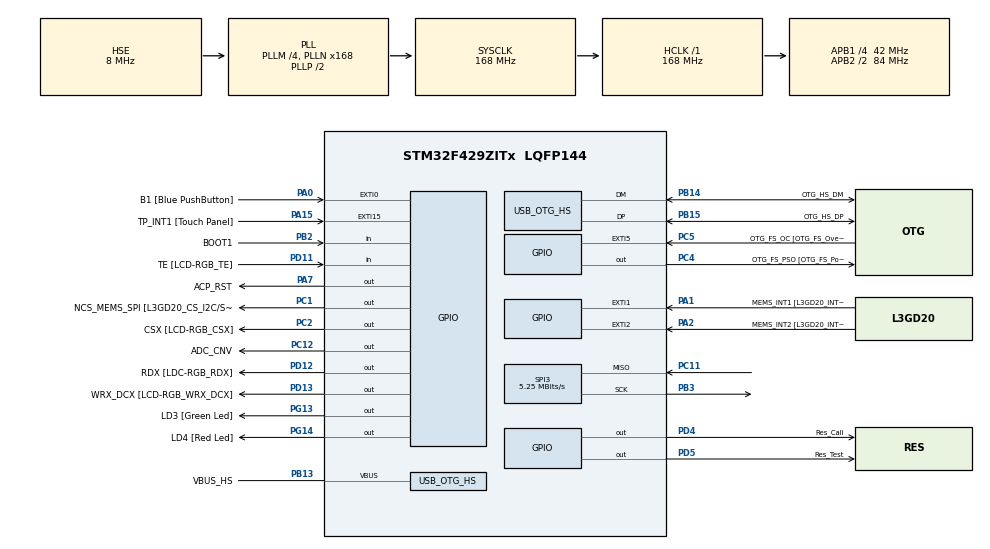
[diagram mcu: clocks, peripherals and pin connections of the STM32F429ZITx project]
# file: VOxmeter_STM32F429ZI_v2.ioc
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Mcu.Family=STM32F4
Mcu.Name=STM32F429ZITx
Mcu.Package=LQFP144
NVIC.OTG_HS_IRQn=true\:0\:0\:false\:false\:true\:true\:true
NVIC.PriorityGroup=NVIC_PRIORITYGROUP_4
NVIC.TIM6_DAC_IRQn=true\:0\:0\:false\:false\:true\:false\:true
NVIC.TIM7_IRQn=true\:0\:0\:false\:false\:true\:true\:true
NVIC.TimeBase=TIM6_DAC_IRQn
NVIC.TimeBaseIP=TIM6
PA0/WKUP.GPIO_Label=B1 [Blue PushButton]
PA0/WKUP.GPIO_ModeDefaultEXTI=GPIO_MODE_EVT_RISING
PA0/WKUP.GPIO_PuPd=GPIO_NOPULL
PA0/WKUP.Signal=GPXTI0
PA1.GPIO_Label=MEMS_INT1 [L3GD20_INT1]
PA1.GPIO_ModeDefaultEXTI=GPIO_MODE_EVT_RISING
PA1.GPIO_PuPd=GPIO_NOPULL
PA1.Signal=GPXTI1
PA10.GPIO_Label=STLINK_TX [STM32F103CBT6_PA2]
PA10.Signal=USART1_RX
PA11.GPIO_Label=R4
PA11.GPIO_Mode=GPIO_MODE_AF_PP
PA11.GPIO_PuPd=GPIO_NOPULL
PA11.GPIO_Speed=GPIO_SPEED_FREQ_LOW
PA11.Signal=LTDC_R4
PA12.GPIO_Label=R5
PA12.GPIO_Mode=GPIO_MODE_AF_PP
PA12.GPIO_PuPd=GPIO_NOPULL
PA12.GPIO_Speed=GPIO_SPEED_FREQ_LOW
PA12.Signal=LTDC_R5
PA13.GPIO_Label=SWDIO
PA13.Mode=Serial_Wire
PA13.Signal=SYS_JTMS-SWDIO
PA14.GPIO_Label=SWCLK
PA14.Mode=Serial_Wire
PA14.Signal=SYS_JTCK-SWCLK
PA15.GPIO_Label=TP_INT1 [Touch Panel]
PA15.GPIO_ModeDefaultEXTI=GPIO_MODE_EVT_RISING
PA15.GPIO_PuPd=GPIO_NOPULL
PA15.Signal=GPXTI15
PA2.GPIO_Label=MEMS_INT2 [L3GD20_INT2]
PA2.GPIO_ModeDefaultEXTI=GPIO_MODE_EVT_RISING
PA2.GPIO_PuPd=GPIO_NOPULL
PA2.Signal=GPXTI2
PA3.GPIO_Label=B5
PA3.GPIO_Mode=GPIO_MODE_AF_PP
PA3.GPIO_PuPd=GPIO_NOPULL
PA3.GPIO_Speed=GPIO_SPEED_FREQ_LOW
PA3.Signal=LTDC_B5
PA4.GPIO_Label=VSYNC
PA4.GPIO_Mode=GPIO_MODE_AF_PP
PA4.GPIO_PuPd=GPIO_NOPULL
PA4.GPIO_Speed=GPIO_SPEED_FREQ_LOW
PA4.Signal=LTDC_VSYNC
PA6.GPIO_Label=G2
PA6.GPIO_Mode=GPIO_MODE_AF_PP
PA6.GPIO_PuPd=GPIO_NOPULL
PA6.GPIO_Speed=GPIO_SPEED_FREQ_LOW
PA6.Signal=LTDC_G2
PA7.GPIO_Label=ACP_RST
PA7.GPIO_Mode=GPIO_MODE_OUTPUT_PP
PA7.GPIO_PuPd=GPIO_NOPULL
PA7.GPIO_Speed=GPIO_SPEED_FREQ_LOW
PA7.Signal=GPIO_Output
PA8.GPIO_Label=I2C3_SCL [ACP/RF_SCL]
PA8.GPIO_Mode=GPIO_MODE_AF_OD
PA8.GPIO_PuPd=GPIO_NOPULL
PA8.GPIO_Speed=GPIO_SPEED_FREQ_LOW
PA8.Signal=I2C3_SCL
PA9.GPIO_Label=STLINK_RX [STM32F103CBT6_PA3]
PA9.Signal=USART1_TX
PB0.GPIO_Label=R3
PB0.GPIO_Mode=GPIO_MODE_AF_PP
PB0.GPIO_PuPd=GPIO_NOPULL
PB0.GPIO_Speed=GPIO_SPEED_FREQ_LOW
PB0.Signal=LTDC_R3
PB1.GPIO_Label=R6
PB1.GPIO_Mode=GPIO_MODE_AF_PP
PB1.GPIO_PuPd=GPIO_NOPULL
PB1.GPIO_Speed=GPIO_SPEED_FREQ_LOW
PB1.Signal=LTDC_R6
PB10.GPIO_Label=G4
PB10.GPIO_Mode=GPIO_MODE_AF_PP
PB10.GPIO_PuPd=GPIO_NOPULL
PB10.GPIO_Speed=GPIO_SPEED_FREQ_LOW
PB10.Signal=LTDC_G4
PB11.GPIO_Label=G5
PB11.GPIO_Mode=GPIO_MODE_AF_PP
PB11.GPIO_PuPd=GPIO_NOPULL
PB11.GPIO_Speed=GPIO_SPEED_FREQ_LOW
PB11.Signal=LTDC_G5
PB12.GPIO_Label=OTG_HS_ID
PB12.GPIO_Mode=GPIO_MODE_AF_PP
PB12.GPIO_PuPd=GPIO_NOPULL
PB12.GPIO_Speed=GPIO_SPEED_FREQ_LOW
PB12.Signal=USB_OTG_HS_ID
PB13.GPIO_Label=VBUS_HS
PB13.GPIO_Mode=GPIO_MODE_INPUT
PB13.GPIO_PuPd=GPIO_NOPULL
PB13.Mode=Activate_VBUS_FS
PB13.Signal=USB_OTG_HS_VBUS
PB14.GPIO_Label=OTG_HS_DM
PB14.GPIO_Mode=GPIO_MODE_AF_PP
PB14.GPIO_PuPd=GPIO_NOPULL
PB14.GPIO_Speed=GPIO_SPEED_FREQ_LOW
PB14.Mode=Device_Only_FS
PB14.Signal=USB_OTG_HS_DM
PB15.GPIO_Label=OTG_HS_DP
PB15.GPIO_Mode=GPIO_MODE_AF_PP
PB15.GPIO_PuPd=GPIO_NOPULL
PB15.GPIO_Speed=GPIO_SPEED_FREQ_LOW
PB15.Mode=Device_Only_FS
PB15.Signal=USB_OTG_HS_DP
PB2/BOOT1.GPIO_Label=BOOT1
PB2/BOOT1.GPIO_Mode=GPIO_MODE_INPUT
PB2/BOOT1.GPIO_PuPd=GPIO_NOPULL
PB2/BOOT1.Signal=GPIO_Input
PB3.Mode=RX_Only_Simplex_Unidirect_Master
PB3.Signal=SPI3_SCK
PB5.GPIO_Label=SDCKE1
PB5.GPIO_Mode=GPIO_MODE_AF_PP
PB5.GPIO_PuPd=GPIO_NOPULL
PB5.GPIO_Speed=GPIO_SPEED_FREQ_VERY_HIGH
PB5.Signal=FMC_SDCKE1
PB6.GPIO_Label=SDNE1 [SDRAM_CS]
PB6.GPIO_Mode=GPIO_MODE_AF_PP
PB6.GPIO_PuPd=GPIO_NOPULL
PB6.GPIO_Speed=GPIO_SPEED_FREQ_VERY_HIGH
PB6.Signal=FMC_SDNE1
PB8.GPIO_Label=B6
PB8.GPIO_Mode=GPIO_MODE_AF_PP
PB8.GPIO_PuPd=GPIO_NOPULL
PB8.GPIO_Speed=GPIO_SPEED_FREQ_LOW
PB8.Signal=LTDC_B6
PB9.GPIO_Label=B7
PB9.GPIO_Mode=GPIO_MODE_AF_PP
PB9.GPIO_PuPd=GPIO_NOPULL
PB9.GPIO_Speed=GPIO_SPEED_FREQ_LOW
PB9.Signal=LTDC_B7
PC0.GPIO_Label=SDNWE
PC0.GPIO_Mode=GPIO_MODE_AF_PP
PC0.GPIO_PuPd=GPIO_NOPULL
PC0.GPIO_Speed=GPIO_SPEED_FREQ_VERY_HIGH
PC0.Signal=FMC_SDNWE
PC1.GPIO_Label=NCS_MEMS_SPI [L3GD20_CS_I2C/SPI]
PC1.GPIO_Mode=GPIO_MODE_OUTPUT_PP
PC1.GPIO_PuPd=GPIO_NOPULL
PC1.GPIO_Speed=GPIO_SPEED_FREQ_LOW
PC1.Signal=GPIO_Output
PC10.GPIO_Label=R2
PC10.GPIO_Mode=GPIO_MODE_AF_PP
PC10.GPIO_PuPd=GPIO_NOPULL
PC10.GPIO_Speed=GPIO_SPEED_FREQ_LOW
PC10.Signal=LTDC_R2
PC11.Mode=RX_Only_Simplex_Unidirect_Master
PC11.Signal=SPI3_MISO
PC12.GPIO_Label=ADC_CNV
PC12.Signal=GPIO_Output
PC14/OSC32_IN.GPIO_Label=PC14-OSC32_IN
PC14/OSC32_IN.Signal=RCC_OSC32_IN
PC15/OSC32_OUT.GPIO_Label=PC15-OSC32_OUT
PC15/OSC32_OUT.Signal=RCC_OSC32_OUT
PC2.GPIO_Label=CSX [LCD-RGB_CSX]
PC2.GPIO_Mode=GPIO_MODE_OUTPUT_PP
PC2.GPIO_PuPd=GPIO_NOPULL
PC2.GPIO_Speed=GPIO_SPEED_FREQ_LOW
PC2.Signal=GPIO_Output
PC4.GPIO_Label=OTG_FS_PSO [OTG_FS_PowerSwitchOn]
PC4.GPIO_Mode=GPIO_MODE_OUTPUT_PP
PC4.GPIO_PuPd=GPIO_NOPULL
PC4.GPIO_Speed=GPIO_SPEED_FREQ_LOW
PC4.Signal=GPIO_Output
PC5.GPIO_Label=OTG_FS_OC [OTG_FS_OverCurrent]
PC5.GPIO_ModeDefaultEXTI=GPIO_MODE_EVT_RISING
PC5.Signal=GPXTI5
PC6.GPIO_Label=HSYNC
PC6.GPIO_Mode=GPIO_MODE_AF_PP
PC6.GPIO_PuPd=GPIO_NOPULL
PC6.GPIO_Speed=GPIO_SPEED_FREQ_LOW
PC6.Signal=LTDC_HSYNC
PC7.GPIO_Label=G6
PC7.GPIO_Mode=GPIO_MODE_AF_PP
PC7.GPIO_PuPd=GPIO_NOPULL
PC7.GPIO_Speed=GPIO_SPEED_FREQ_LOW
PC7.Signal=LTDC_G6
PC9.GPIO_Label=I2C3_SDA [ACP/RF_SDA]
PC9.GPIO_Mode=GPIO_MODE_AF_OD
PC9.GPIO_PuPd=GPIO_NOPULL
PC9.GPIO_Speed=GPIO_SPEED_FREQ_LOW
PC9.Signal=I2C3_SDA
PD0.GPIO_Label=D2
PD0.GPIO_Mode=GPIO_MODE_AF_PP
PD0.GPIO_PuPd=GPIO_NOPULL
PD0.GPIO_Speed=GPIO_SPEED_FREQ_VERY_HIGH
PD0.Signal=FMC_D2_DA2
PD1.GPIO_Label=D3
PD1.GPIO_Mode=GPIO_MODE_AF_PP
PD1.GPIO_PuPd=GPIO_NOPULL
PD1.GPIO_Speed=GPIO_SPEED_FREQ_VERY_HIGH
PD1.Signal=FMC_D3_DA3
PD10.GPIO_Label=D15
PD10.GPIO_Mode=GPIO_MODE_AF_PP
PD10.GPIO_PuPd=GPIO_NOPULL
PD10.GPIO_Speed=GPIO_SPEED_FREQ_VERY_HIGH
PD10.Signal=FMC_D15_DA15
PD11.GPIO_Label=TE [LCD-RGB_TE]
PD11.GPIO_Mode=GPIO_MODE_INPUT
PD11.GPIO_PuPd=GPIO_NOPULL
PD11.Signal=GPIO_Input
PD12.GPIO_Label=RDX [LDC-RGB_RDX]
PD12.GPIO_Mode=GPIO_MODE_OUTPUT_PP
PD12.GPIO_PuPd=GPIO_NOPULL
PD12.GPIO_Speed=GPIO_SPEED_FREQ_LOW
PD12.Signal=GPIO_Output
PD13.GPIO_Label=WRX_DCX [LCD-RGB_WRX_DCX]
PD13.GPIO_Mode=GPIO_MODE_OUTPUT_PP
PD13.GPIO_PuPd=GPIO_NOPULL
PD13.GPIO_Speed=GPIO_SPEED_FREQ_LOW
PD13.Signal=GPIO_Output
PD14.GPIO_Label=D0
PD14.GPIO_Mode=GPIO_MODE_AF_PP
PD14.GPIO_PuPd=GPIO_NOPULL
PD14.GPIO_Speed=GPIO_SPEED_FREQ_VERY_HIGH
PD14.Signal=FMC_D0_DA0
PD15.GPIO_Label=D1
PD15.GPIO_Mode=GPIO_MODE_AF_PP
PD15.GPIO_PuPd=GPIO_NOPULL
PD15.GPIO_Speed=GPIO_SPEED_FREQ_VERY_HIGH
PD15.Signal=FMC_D1_DA1
PD3.GPIO_Label=G7
PD3.GPIO_Mode=GPIO_MODE_AF_PP
PD3.GPIO_PuPd=GPIO_NOPULL
PD3.GPIO_Speed=GPIO_SPEED_FREQ_LOW
PD3.Signal=LTDC_G7
PD4.GPIO_Label=Res_Cali
PD4.Signal=GPIO_Output
PD5.GPIO_Label=Res_Test
PD5.Signal=GPIO_Output
PD6.GPIO_Label=B2
PD6.GPIO_Mode=GPIO_MODE_AF_PP
PD6.GPIO_PuPd=GPIO_NOPULL
PD6.GPIO_Speed=GPIO_SPEED_FREQ_LOW
PD6.Signal=LTDC_B2
PD8.GPIO_Label=D13
PD8.GPIO_Mode=GPIO_MODE_AF_PP
PD8.GPIO_PuPd=GPIO_NOPULL
PD8.GPIO_Speed=GPIO_SPEED_FREQ_VERY_HIGH
PD8.Signal=FMC_D13_DA13
PD9.GPIO_Label=D14
PD9.GPIO_Mode=GPIO_MODE_AF_PP
PD9.GPIO_PuPd=GPIO_NOPULL
PD9.GPIO_Speed=GPIO_SPEED_FREQ_VERY_HIGH
PD9.Signal=FMC_D14_DA14
PE0.GPIO_Label=NBL0 [SDRAM_LDQM]
PE0.GPIO_Mode=GPIO_MODE_AF_PP
PE0.GPIO_PuPd=GPIO_NOPULL
PE0.GPIO_Speed=GPIO_SPEED_FREQ_VERY_HIGH
PE0.Signal=FMC_NBL0
PE1.GPIO_Label=NBL1 [SDRAM_UDQM]
PE1.GPIO_Mode=GPIO_MODE_AF_PP
PE1.GPIO_PuPd=GPIO_NOPULL
PE1.GPIO_Speed=GPIO_SPEED_FREQ_VERY_HIGH
PE1.Signal=FMC_NBL1
PE10.GPIO_Label=D7
PE10.GPIO_Mode=GPIO_MODE_AF_PP
PE10.GPIO_PuPd=GPIO_NOPULL
PE10.GPIO_Speed=GPIO_SPEED_FREQ_VERY_HIGH
PE10.Signal=FMC_D7_DA7
PE11.GPIO_Label=D8
PE11.GPIO_Mode=GPIO_MODE_AF_PP
PE11.GPIO_PuPd=GPIO_NOPULL
PE11.GPIO_Speed=GPIO_SPEED_FREQ_VERY_HIGH
PE11.Signal=FMC_D8_DA8
PE12.GPIO_Label=D9
PE12.GPIO_Mode=GPIO_MODE_AF_PP
PE12.GPIO_PuPd=GPIO_NOPULL
PE12.GPIO_Speed=GPIO_SPEED_FREQ_VERY_HIGH
PE12.Signal=FMC_D9_DA9
PE13.GPIO_Label=D10
PE13.GPIO_Mode=GPIO_MODE_AF_PP
PE13.GPIO_PuPd=GPIO_NOPULL
PE13.GPIO_Speed=GPIO_SPEED_FREQ_VERY_HIGH
PE13.Signal=FMC_D10_DA10
PE14.GPIO_Label=D11
PE14.GPIO_Mode=GPIO_MODE_AF_PP
PE14.GPIO_PuPd=GPIO_NOPULL
PE14.GPIO_Speed=GPIO_SPEED_FREQ_VERY_HIGH
PE14.Signal=FMC_D11_DA11
PE15.GPIO_Label=D12
PE15.GPIO_Mode=GPIO_MODE_AF_PP
PE15.GPIO_PuPd=GPIO_NOPULL
PE15.GPIO_Speed=GPIO_SPEED_FREQ_VERY_HIGH
PE15.Signal=FMC_D12_DA12
PE7.GPIO_Label=D4
PE7.GPIO_Mode=GPIO_MODE_AF_PP
PE7.GPIO_PuPd=GPIO_NOPULL
PE7.GPIO_Speed=GPIO_SPEED_FREQ_VERY_HIGH
PE7.Signal=FMC_D4_DA4
PE8.GPIO_Label=D5
PE8.GPIO_Mode=GPIO_MODE_AF_PP
PE8.GPIO_PuPd=GPIO_NOPULL
PE8.GPIO_Speed=GPIO_SPEED_FREQ_VERY_HIGH
PE8.Signal=FMC_D5_DA5
PE9.GPIO_Label=D6
PE9.GPIO_Mode=GPIO_MODE_AF_PP
PE9.GPIO_PuPd=GPIO_NOPULL
PE9.GPIO_Speed=GPIO_SPEED_FREQ_VERY_HIGH
PE9.Signal=FMC_D6_DA6
PF0.GPIO_Label=A0
PF0.GPIO_Mode=GPIO_MODE_AF_PP
PF0.GPIO_PuPd=GPIO_NOPULL
PF0.GPIO_Speed=GPIO_SPEED_FREQ_VERY_HIGH
PF0.Signal=FMC_A0
PF1.GPIO_Label=A1
PF1.GPIO_Mode=GPIO_MODE_AF_PP
PF1.GPIO_PuPd=GPIO_NOPULL
PF1.GPIO_Speed=GPIO_SPEED_FREQ_VERY_HIGH
PF1.Signal=FMC_A1
PF10.GPIO_Label=ENABLE [LCD-RGB_ENABLE]
PF10.GPIO_Mode=GPIO_MODE_AF_PP
PF10.GPIO_PuPd=GPIO_NOPULL
PF10.GPIO_Speed=GPIO_SPEED_FREQ_LOW
PF10.Signal=LTDC_DE
PF11.GPIO_Label=SDNRAS
PF11.GPIO_Mode=GPIO_MODE_AF_PP
PF11.GPIO_PuPd=GPIO_NOPULL
PF11.GPIO_Speed=GPIO_SPEED_FREQ_VERY_HIGH
PF11.Signal=FMC_SDNRAS
PF12.GPIO_Label=A6
PF12.GPIO_Mode=GPIO_MODE_AF_PP
PF12.GPIO_PuPd=GPIO_NOPULL
PF12.GPIO_Speed=GPIO_SPEED_FREQ_VERY_HIGH
PF12.Signal=FMC_A6
PF13.GPIO_Label=A7
PF13.GPIO_Mode=GPIO_MODE_AF_PP
PF13.GPIO_PuPd=GPIO_NOPULL
PF13.GPIO_Speed=GPIO_SPEED_FREQ_VERY_HIGH
PF13.Signal=FMC_A7
PF14.GPIO_Label=A8
PF14.GPIO_Mode=GPIO_MODE_AF_PP
PF14.GPIO_PuPd=GPIO_NOPULL
PF14.GPIO_Speed=GPIO_SPEED_FREQ_VERY_HIGH
PF14.Signal=FMC_A8
PF15.GPIO_Label=A9
PF15.GPIO_Mode=GPIO_MODE_AF_PP
PF15.GPIO_PuPd=GPIO_NOPULL
PF15.GPIO_Speed=GPIO_SPEED_FREQ_VERY_HIGH
PF15.Signal=FMC_A9
PF2.GPIO_Label=A2
PF2.GPIO_Mode=GPIO_MODE_AF_PP
PF2.GPIO_PuPd=GPIO_NOPULL
PF2.GPIO_Speed=GPIO_SPEED_FREQ_VERY_HIGH
PF2.Signal=FMC_A2
PF3.GPIO_Label=A3
PF3.GPIO_Mode=GPIO_MODE_AF_PP
PF3.GPIO_PuPd=GPIO_NOPULL
PF3.GPIO_Speed=GPIO_SPEED_FREQ_VERY_HIGH
PF3.Signal=FMC_A3
PF4.GPIO_Label=A4
PF4.GPIO_Mode=GPIO_MODE_AF_PP
PF4.GPIO_PuPd=GPIO_NOPULL
PF4.GPIO_Speed=GPIO_SPEED_FREQ_VERY_HIGH
PF4.Signal=FMC_A4
PF5.GPIO_Label=A5
PF5.GPIO_Mode=GPIO_MODE_AF_PP
PF5.GPIO_PuPd=GPIO_NOPULL
PF5.GPIO_Speed=GPIO_SPEED_FREQ_VERY_HIGH
PF5.Signal=FMC_A5
PF7.GPIO_Label=SPI5_SCK [L3GD20_SCL/SPC]
PF7.GPIO_Mode=GPIO_MODE_AF_PP
PF7.GPIO_PuPd=GPIO_NOPULL
PF7.GPIO_Speed=GPIO_SPEED_FREQ_LOW
PF7.Signal=SPI5_SCK
PF8.GPIO_Label=SPI5_MISO [L3GD20_SDO]
PF8.GPIO_Mode=GPIO_MODE_AF_PP
PF8.GPIO_PuPd=GPIO_NOPULL
PF8.GPIO_Speed=GPIO_SPEED_FREQ_LOW
PF8.Signal=SPI5_MISO
PF9.GPIO_Label=SPI5_MOSI [L3GD20_SDA/SDI/SDO]
PF9.GPIO_Mode=GPIO_MODE_AF_PP
PF9.GPIO_PuPd=GPIO_NOPULL
PF9.GPIO_Speed=GPIO_SPEED_FREQ_LOW
PF9.Signal=SPI5_MOSI
PG0.GPIO_Label=A10
PG0.GPIO_Mode=GPIO_MODE_AF_PP
PG0.GPIO_PuPd=GPIO_NOPULL
PG0.GPIO_Speed=GPIO_SPEED_FREQ_VERY_HIGH
PG0.Signal=FMC_A10
PG1.GPIO_Label=A11
PG1.GPIO_Mode=GPIO_MODE_AF_PP
PG1.GPIO_PuPd=GPIO_NOPULL
PG1.GPIO_Speed=GPIO_SPEED_FREQ_VERY_HIGH
PG1.Signal=FMC_A11
PG10.GPIO_Label=G3
PG10.GPIO_Mode=GPIO_MODE_AF_PP
PG10.GPIO_PuPd=GPIO_NOPULL
PG10.GPIO_Speed=GPIO_SPEED_FREQ_LOW
PG10.Signal=LTDC_G3
PG11.GPIO_Label=B3
PG11.GPIO_Mode=GPIO_MODE_AF_PP
PG11.GPIO_PuPd=GPIO_NOPULL
PG11.GPIO_Speed=GPIO_SPEED_FREQ_LOW
PG11.Signal=LTDC_B3
PG12.GPIO_Label=B4
PG12.GPIO_Mode=GPIO_MODE_AF_PP
PG12.GPIO_PuPd=GPIO_NOPULL
PG12.GPIO_Speed=GPIO_SPEED_FREQ_LOW
PG12.Signal=LTDC_B4
PG13.GPIO_Label=LD3 [Green Led]
PG13.GPIO_Mode=GPIO_MODE_OUTPUT_PP
PG13.GPIO_PuPd=GPIO_NOPULL
PG13.GPIO_Speed=GPIO_SPEED_FREQ_LOW
PG13.Signal=GPIO_Output
PG14.GPIO_Label=LD4 [Red Led]
PG14.GPIO_Mode=GPIO_MODE_OUTPUT_PP
PG14.GPIO_PuPd=GPIO_NOPULL
PG14.GPIO_Speed=GPIO_SPEED_FREQ_LOW
PG14.Signal=GPIO_Output
PG15.GPIO_Label=SDNCAS
PG15.GPIO_Mode=GPIO_MODE_AF_PP
PG15.GPIO_PuPd=GPIO_NOPULL
PG15.GPIO_Speed=GPIO_SPEED_FREQ_VERY_HIGH
PG15.Signal=FMC_SDNCAS
PG4.GPIO_Label=BA0
PG4.GPIO_Mode=GPIO_MODE_AF_PP
PG4.GPIO_PuPd=GPIO_NOPULL
PG4.GPIO_Speed=GPIO_SPEED_FREQ_VERY_HIGH
PG4.Signal=FMC_A14_BA0
PG5.GPIO_Label=BA1
PG5.GPIO_Mode=GPIO_MODE_AF_PP
PG5.GPIO_PuPd=GPIO_NOPULL
PG5.GPIO_Speed=GPIO_SPEED_FREQ_VERY_HIGH
PG5.Signal=FMC_A15_BA1
PG6.GPIO_Label=R7
PG6.GPIO_Mode=GPIO_MODE_AF_PP
PG6.GPIO_PuPd=GPIO_NOPULL
PG6.GPIO_Speed=GPIO_SPEED_FREQ_LOW
PG6.Signal=LTDC_R7
PG7.GPIO_Label=DOTCLK [LCT-RGB_DOTCLK]
PG7.GPIO_Mode=GPIO_MODE_AF_PP
PG7.GPIO_PuPd=GPIO_NOPULL
PG7.GPIO_Speed=GPIO_SPEED_FREQ_LOW
PG7.Signal=LTDC_CLK
PG8.GPIO_Label=SDCLK
PG8.GPIO_Mode=GPIO_MODE_AF_PP
PG8.GPIO_PuPd=GPIO_NOPULL
PG8.GPIO_Speed=GPIO_SPEED_FREQ_VERY_HIGH
PG8.Signal=FMC_SDCLK
PH0/OSC_IN.GPIO_Label=PH0-OSC_IN
PH0/OSC_IN.Mode=HSE-External-Oscillator
PH0/OSC_IN.Signal=RCC_OSC_IN
PH1/OSC_OUT.GPIO_Label=PH1-OSC_OUT
PH1/OSC_OUT.Mode=HSE-External-Oscillator
PH1/OSC_OUT.Signal=RCC_OSC_OUT
ProjectManager.HeapSize=0x2000
ProjectManager.StackSize=0x4000
ProjectManager.TargetToolchain=MDK-ARM V5.27
RCC.48MHZClocksFreq_Value=48000000
RCC.AHBFreq_Value=168000000
RCC.APB1CLKDivider=RCC_HCLK_DIV4
RCC.APB1Freq_Value=42000000
RCC.APB1TimFreq_Value=84000000
RCC.APB2CLKDivider=RCC_HCLK_DIV2
RCC.APB2Freq_Value=84000000
RCC.APB2TimFreq_Value=168000000
RCC.CortexFreq_Value=168000000
RCC.HCLKFreq_Value=168000000
RCC.HSE_VALUE=8000000
RCC.HSI_VALUE=16000000
RCC.LSE_VALUE=32768
RCC.PLLM=4
RCC.PLLN=168
RCC.PLLQ=7
RCC.PLLSAIN=50
RCC.SYSCLKFreq_VALUE=168000000
RCC.SYSCLKSource=RCC_SYSCLKSOURCE_PLLCLK
RCC.VCOOutputFreq_Value=336000000
SH.FMC_A0.0=FMC_A0
SH.FMC_A1.0=FMC_A1
SH.FMC_A10.0=FMC_A10
SH.FMC_A11.0=FMC_A11
SH.FMC_A14_BA0.0=FMC_BA0
SH.FMC_A15_BA1.0=FMC_BA1
SH.FMC_A2.0=FMC_A2
SH.FMC_A3.0=FMC_A3
SH.FMC_A4.0=FMC_A4
SH.FMC_A5.0=FMC_A5
SH.FMC_A6.0=FMC_A6
SH.FMC_A7.0=FMC_A7
SH.FMC_A8.0=FMC_A8
SH.FMC_A9.0=FMC_A9
SH.FMC_D0_DA0.0=FMC_D0
SH.FMC_D10_DA10.0=FMC_D10
SH.FMC_D11_DA11.0=FMC_D11
SH.FMC_D12_DA12.0=FMC_D12
SH.FMC_D13_DA13.0=FMC_D13
SH.FMC_D14_DA14.0=FMC_D14
SH.FMC_D15_DA15.0=FMC_D15
SH.FMC_D1_DA1.0=FMC_D1
SH.FMC_D2_DA2.0=FMC_D2
SH.FMC_D3_DA3.0=FMC_D3
SH.FMC_D4_DA4.0=FMC_D4
SH.FMC_D5_DA5.0=FMC_D5
SH.FMC_D6_DA6.0=FMC_D6
SH.FMC_D7_DA7.0=FMC_D7
SH.FMC_D8_DA8.0=FMC_D8
SH.FMC_D9_DA9.0=FMC_D9
SH.FMC_NBL0.0=FMC_NBL0
SH.FMC_NBL1.0=FMC_NBL1
SH.FMC_SDCLK.0=FMC_SDCLK
SH.FMC_SDNCAS.0=FMC_SDNCAS
SH.FMC_SDNRAS.0=FMC_SDNRAS
SH.FMC_SDNWE.0=FMC_SDNWE
SPI3.BaudRatePrescaler=SPI_BAUDRATEPRESCALER_8
SPI3.CalculateBaudRate=5.25 MBits/s
SPI3.DataSize=SPI_DATASIZE_16BIT
SPI3.Direction=SPI_DIRECTION_2LINES_RXONLY
SPI3.Mode=SPI_MODE_MASTER
SPI3.VirtualType=VM_MASTER
TIM2.AutoReloadPreload=TIM_AUTORELOAD_PRELOAD_DISABLE
TIM2.Period=65535
TIM2.Prescaler=83
TIM7.AutoReloadPreload=TIM_AUTORELOAD_PRELOAD_ENABLE
TIM7.Period=20
TIM7.Prescaler=999
USB_DEVICE.CLASS_NAME_HS=CDC
USB_DEVICE.VirtualMode-CDC_HS=Cdc
USB_DEVICE.VirtualModeHS=Cdc_HS
USB_OTG_HS.VirtualMode-Device_Only_FS=Device_Only_FS
VP_SYS_VS_tim6.Mode=TIM6
VP_TIM1_VS_ClockSourceINT.Mode=Internal
VP_TIM2_VS_ClockSourceINT.Mode=Internal
VP_TIM7_VS_ClockSourceINT.Mode=Enable_Timer
VP_TIM7_VS_OPM.Mode=OPM_bit
VP_USB_DEVICE_VS_USB_DEVICE_CDC_HS.Mode=CDC_HS
board=STM32F429I-DISC1

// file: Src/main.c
/* USER CODE BEGIN Header */
/**
  ******************************************************************************
  * @file           : main.c
  * @brief          : Main program body
  ******************************************************************************
  * @attention
  *
  * <h2><center>&copy; Copyright (c) 2020 STMicroelectronics.
  * All rights reserved.</center></h2>
  *
  * This software component is licensed by ST under Ultimate Liberty license
  * SLA0044, the "License"; You may not use this file except in compliance with
  * the License. You may obtain a copy of the License at:
  *                             www.st.com/SLA0044
  *
  ******************************************************************************
  */
/* USER CODE END Header */

#include "main.h"
#include "spi.h"
#include "tim.h"
#include "usb_device.h"
#include "gpio.h"

/* USER CODE BEGIN Includes */

#include "stdint.h"
#include "math.h"
#include "usbd_cdc_if.h"

/* USER CODE END Includes */

/* USER CODE BEGIN PD */

// #define

/* USER CODE END PD */

/* USER CODE BEGIN PV */

uint16_t buffer[5000];
uint32_t i=300,j=1000,k=70,l=200,psc=999,arr=83,delay=60000;
int slope=0;
uint8_t str[13]="";

/* USER CODE END PV */

void SystemClock_Config(void);

/* USER CODE BEGIN 0 */

void getValue_ADC(uint16_t* dist){
  uint8_t adc_tmp[2];
  // start and wait about 1us for ADC converting
  HAL_GPIO_WritePin(ADC_CNV_GPIO_Port,ADC_CNV_Pin,GPIO_PIN_SET);
  for(uint8_t wait=0;wait<30;wait++);
  // stop ADC convert to receive data
  HAL_GPIO_WritePin(ADC_CNV_GPIO_Port,ADC_CNV_Pin,GPIO_PIN_RESET);
  HAL_SPI_Receive(&hspi3,adc_tmp,1,10);
  // reshape adc_tmp[2] to dist
  *dist=adc_tmp[1];
  *dist<<=8;
  *dist+=adc_tmp[0];
}

void delay_us(uint16_t us_cnt){
  htim2.Instance->CNT=0;
  while(htim2.Instance->CNT<us_cnt);
}

void shortToString(uint16_t num,uint16_t value){
  str[0]=((num/10000)%10)? ((num/10000)%10)+48:48;
  str[1]=((num/1000)%10)? ((num/1000)%10)+48:48;
  str[2]=((num/100)%10)? ((num/100)%10)+48:48;
  str[3]=((num/10)%10)? ((num/10)%10)+48:48;
  str[4]=(num%10)? (num%10)+48:48;
  str[5]=',';
  str[6]=((value/10000)%10)? ((value/10000)%10)+48:48;
  str[7]=((value/1000)%10)? ((value/1000)%10)+48:48;
  str[8]=((value/100)%10)? ((value/100)%10)+48:48;
  str[9]=((value/10)%10)? ((value/10)%10)+48:48;
  str[10]=(value%10)? (value%10)+48:48;
  str[11]='\n';
  str[12]='\r';
}

/* USER CODE END 0 */

int main(void)
{

  /* MCU Configuration--------------------------------------------------------*/

  /* Reset of all peripherals, Initializes the Flash interface and the Systick. */
  HAL_Init();

  /* Configure the system clock */
  SystemClock_Config();

  /* Initialize all configured peripherals */
  MX_GPIO_Init();
  MX_SPI3_Init();
  MX_TIM1_Init();
  MX_TIM7_Init();
  MX_USB_DEVICE_Init();
  MX_TIM2_Init();
  /* USER CODE BEGIN 2 */

  // clear output GPIO
  HAL_GPIO_WritePin(ADC_CNV_GPIO_Port,ADC_CNV_Pin,GPIO_PIN_RESET);
  HAL_GPIO_WritePin(Res_Cali_GPIO_Port,Res_Cali_Pin,GPIO_PIN_RESET);
  HAL_GPIO_WritePin(Res_Test_GPIO_Port,Res_Test_Pin,GPIO_PIN_RESET);
  // start delay microsecond timer
  HAL_TIM_Base_Start(&htim2);

  /* USER CODE END 2 */

  /* Infinite loop */
  /* USER CODE BEGIN WHILE */
  while (1)
  {
    // timer 2 delay us test
    HAL_GPIO_WritePin(LD4_GPIO_Port,LD4_Pin,GPIO_PIN_SET);
    delay_us(delay);
    HAL_GPIO_WritePin(LD4_GPIO_Port,LD4_Pin,GPIO_PIN_RESET);

    // preset timer 7 parameters
    TIM7->PSC=psc;
    TIM7->ARR=arr;

    // clear buffer
    for(uint16_t index=0;index<(sizeof(buffer)/2);index++){
      buffer[index]=0;
    }

    // turn on calibration resistor
    HAL_GPIO_WritePin(Res_Test_GPIO_Port,Res_Test_Pin,GPIO_PIN_SET);
    for(uint32_t delay_count=0;delay_count<delay;delay_count++);
    // HAL_Delay(delay);

    // continuously get ADC value until circuit stable maximum time (<1ms@200Ohm)
    for(uint16_t cnv_count=0;cnv_count<i;cnv_count++){
      // get new data
      getValue_ADC(&buffer[cnv_count]);
      // break if the value in buffer was increase
      if( buffer[0]>buffer[1] && (buffer[0]-buffer[1])>i &&\
          buffer[1]>buffer[2] && (buffer[1]-buffer[2])>i &&\
          buffer[2]>buffer[3] && (buffer[2]-buffer[3])>i &&\
          buffer[3]>buffer[4] && (buffer[3]-buffer[4])>i \
      ){
        HAL_GPIO_WritePin(LD3_GPIO_Port,LD3_Pin,GPIO_PIN_SET);
        HAL_TIM_Base_Start_IT(&htim7);
        if(cnv_count>=20){
          break;
        }
      }

      // // find maximum value
      // if(buffer[0]>=j){
      //   k=buffer[0];
      //   HAL_GPIO_WritePin(LD3_GPIO_Port,LD3_Pin,GPIO_PIN_SET);
      // }
      // else{
      //   k=0;
      //   HAL_GPIO_WritePin(LD3_GPIO_Port,LD3_Pin,GPIO_PIN_RESET);
      // }

      // moving window to next time
      for(uint16_t mov_count=(sizeof(buffer)/2)-1;mov_count>0;mov_count--){
        buffer[mov_count]=buffer[mov_count-1];
      }

      // wait a while
      for(int x=0;x<k;x++);
    }

    // turn off calibration resistor
    // for(int x=0;x<100;x++);
    HAL_GPIO_WritePin(LD3_GPIO_Port,LD3_Pin,GPIO_PIN_RESET);
    // HAL_Delay(5);
    HAL_GPIO_WritePin(Res_Test_GPIO_Port,Res_Test_Pin,GPIO_PIN_RESET);

    for(uint16_t x=0;x<i;x++){
      shortToString(buffer[x],buffer[x]);
      CDC_Transmit_HS(str,sizeof(str));
      HAL_Delay(1);
    }

    /* USER CODE END WHILE */

    /* USER CODE BEGIN 3 */
    HAL_Delay(1000);
  }
  /* USER CODE END 3 */
}

void SystemClock_Config(void)
{
  RCC_OscInitTypeDef RCC_OscInitStruct = {0};
  RCC_ClkInitTypeDef RCC_ClkInitStruct = {0};

  /** Configure the main internal regulator output voltage
  */
  __HAL_RCC_PWR_CLK_ENABLE();
  __HAL_PWR_VOLTAGESCALING_CONFIG(PWR_REGULATOR_VOLTAGE_SCALE1);
  /** Initializes the CPU, AHB and APB busses clocks
  */
  RCC_OscInitStruct.OscillatorType = RCC_OSCILLATORTYPE_HSE;
  RCC_OscInitStruct.HSEState = RCC_HSE_ON;
  RCC_OscInitStruct.PLL.PLLState = RCC_PLL_ON;
  RCC_OscInitStruct.PLL.PLLSource = RCC_PLLSOURCE_HSE;
  RCC_OscInitStruct.PLL.PLLM = 4;
  RCC_OscInitStruct.PLL.PLLN = 168;
  RCC_OscInitStruct.PLL.PLLP = RCC_PLLP_DIV2;
  RCC_OscInitStruct.PLL.PLLQ = 7;
  if (HAL_RCC_OscConfig(&RCC_OscInitStruct) != HAL_OK)
  {
    Error_Handler();
  }
  /** Initializes the CPU, AHB and APB busses clocks
  */
  RCC_ClkInitStruct.ClockType = RCC_CLOCKTYPE_HCLK|RCC_CLOCKTYPE_SYSCLK
                              |RCC_CLOCKTYPE_PCLK1|RCC_CLOCKTYPE_PCLK2;
  RCC_ClkInitStruct.SYSCLKSource = RCC_SYSCLKSOURCE_PLLCLK;
  RCC_ClkInitStruct.AHBCLKDivider = RCC_SYSCLK_DIV1;
  RCC_ClkInitStruct.APB1CLKDivider = RCC_HCLK_DIV4;
  RCC_ClkInitStruct.APB2CLKDivider = RCC_HCLK_DIV2;

  if (HAL_RCC_ClockConfig(&RCC_ClkInitStruct, FLASH_LATENCY_5) != HAL_OK)
  {
    Error_Handler();
  }
}

 /**
  * @brief  Period elapsed callback in non blocking mode
  * @note   This function is called  when TIM6 interrupt took place, inside
  * HAL_TIM_IRQHandler(). It makes a direct call to HAL_IncTick() to increment
  * a global variable "uwTick" used as application time base.
  * @param  htim : TIM handle
  * @retval None
  */
void HAL_TIM_PeriodElapsedCallback(TIM_HandleTypeDef *htim)
{
  if (htim->Instance == TIM6) {
    HAL_IncTick();
  }
}

void Error_Handler(void)
{
}

/************************ (C) COPYRIGHT STMicroelectronics *****END OF FILE****/
